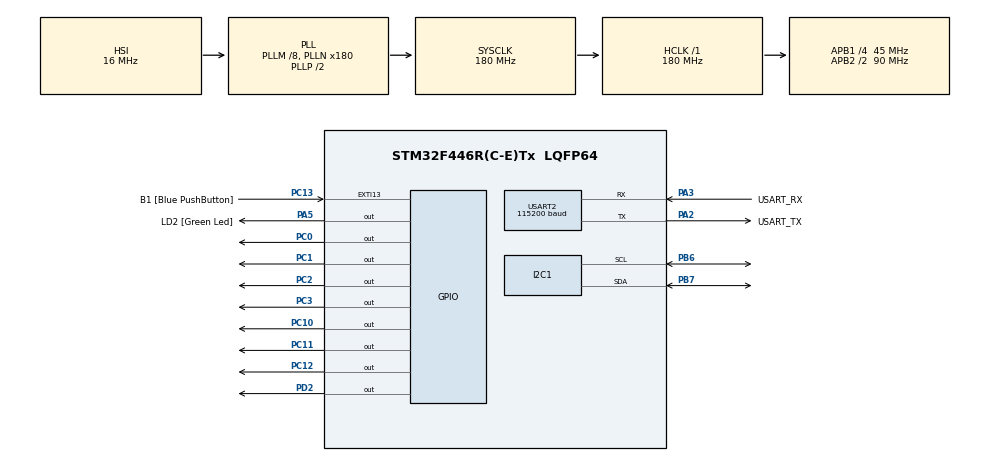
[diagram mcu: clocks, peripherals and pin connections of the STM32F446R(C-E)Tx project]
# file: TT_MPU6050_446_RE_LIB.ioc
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I2C1.I2C_Mode=I2C_Fast
Mcu.Family=STM32F4
Mcu.Name=STM32F446R(C-E)Tx
Mcu.Package=LQFP64
NVIC.EXTI15_10_IRQn=true\:0\:0\:false\:false\:true\:true\:true\:true
NVIC.PriorityGroup=NVIC_PRIORITYGROUP_0
PA13.GPIO_Label=TMS
PA13.Mode=Serial_Wire
PA13.Signal=SYS_JTMS-SWDIO
PA14.GPIO_Label=TCK
PA14.Mode=Serial_Wire
PA14.Signal=SYS_JTCK-SWCLK
PA2.GPIO_Label=USART_TX
PA2.Mode=Asynchronous
PA2.Signal=USART2_TX
PA3.GPIO_Label=USART_RX
PA3.Mode=Asynchronous
PA3.Signal=USART2_RX
PA5.GPIO_Label=LD2 [Green Led]
PA5.Signal=GPIO_Output
PB3.GPIO_Label=SWO
PB3.Signal=SYS_JTDO-SWO
PB6.Mode=I2C
PB6.Signal=I2C1_SCL
PB7.Mode=I2C
PB7.Signal=I2C1_SDA
PC0.Signal=GPIO_Output
PC1.Signal=GPIO_Output
PC10.Signal=GPIO_Output
PC11.Signal=GPIO_Output
PC12.Signal=GPIO_Output
PC13.GPIO_Label=B1 [Blue PushButton]
PC13.GPIO_ModeDefaultEXTI=GPIO_MODE_IT_FALLING
PC13.Signal=GPXTI13
PC14-OSC32_IN.Mode=LSE-External-Oscillator
PC14-OSC32_IN.Signal=RCC_OSC32_IN
PC15-OSC32_OUT.Mode=LSE-External-Oscillator
PC15-OSC32_OUT.Signal=RCC_OSC32_OUT
PC2.Signal=GPIO_Output
PC3.Signal=GPIO_Output
PD2.Signal=GPIO_Output
PH0-OSC_IN.Mode=HSE-External-Oscillator
PH0-OSC_IN.Signal=RCC_OSC_IN
PH1-OSC_OUT.Mode=HSE-External-Oscillator
PH1-OSC_OUT.Signal=RCC_OSC_OUT
ProjectManager.HeapSize=0x200
ProjectManager.StackSize=0x400
ProjectManager.TargetToolchain=STM32CubeIDE
RCC.48MHZClocksFreq_Value=84000000
RCC.AHBFreq_Value=180000000
RCC.APB1CLKDivider=RCC_HCLK_DIV4
RCC.APB1Freq_Value=45000000
RCC.APB1TimFreq_Value=90000000
RCC.APB2CLKDivider=RCC_HCLK_DIV2
RCC.APB2Freq_Value=90000000
RCC.APB2TimFreq_Value=180000000
RCC.CortexFreq_Value=180000000
RCC.FLatency-AdvancedSettings=FLASH_LATENCY_5
RCC.HCLKFreq_Value=180000000
RCC.HSE_VALUE=8000000
RCC.HSI_VALUE=16000000
RCC.PLLM=8
RCC.PLLN=180
RCC.SYSCLKFreq_VALUE=180000000
RCC.SYSCLKSource=RCC_SYSCLKSOURCE_PLLCLK
RCC.USBFreq_Value=180000000
RCC.VCOOutputFreq_Value=360000000
STMicroelectronics.X-CUBE-ALGOBUILD.1.3.0.LibraryCcDSPOoLibraryJjDSPOoLibrary=true
USART2.BaudRate=115200
USART2.VirtualMode=VM_ASYNC
VP_STMicroelectronics.X-CUBE-ALGOBUILD_VS_DSPOoLibraryJjLibrary_1.3.0_1.3.0.Mode=DSPOoLibraryJjLibrary
board=NUCLEO-F446RE

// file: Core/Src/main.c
/* USER CODE BEGIN Header */
/**
 ******************************************************************************
 * @file           : main.c
 * @brief          : Main program body
 ******************************************************************************
 * @attention
 *
 * Copyright (c) 2023 STMicroelectronics.
 * All rights reserved.
 *
 * This software is licensed under terms that can be found in the LICENSE file
 * in the root directory of this software component.
 * If no LICENSE file comes with this software, it is provided AS-IS.
 *
 ******************************************************************************
 */
/* USER CODE END Header */
#include "main.h"

/* USER CODE BEGIN Includes */
#include "TT_MPU6050.h"
/* USER CODE END Includes */

I2C_HandleTypeDef hi2c1;

UART_HandleTypeDef huart2;

/* USER CODE BEGIN PV */
float pitch, roll, yaw;
/* USER CODE END PV */

void SystemClock_Config(void);
static void MX_GPIO_Init(void);
static void MX_USART2_UART_Init(void);
static void MX_I2C1_Init(void);

int main(void) {

	/* MCU Configuration--------------------------------------------------------*/

	/* Reset of all peripherals, Initializes the Flash interface and the Systick. */
	HAL_Init();

	/* Configure the system clock */
	SystemClock_Config();

	/* Initialize all configured peripherals */
	MX_GPIO_Init();
	MX_USART2_UART_Init();
	MX_I2C1_Init();
	/* USER CODE BEGIN 2 */
	TT_Init_MPU6050();
	TT_Get_Gyro_Cal_Values();
	/* USER CODE END 2 */

	/* Infinite loop */
	while (1) {

		/* USER CODE BEGIN 3 */
		pitch = TT_Get_Pitch_Angle();
		roll = TT_Get_Roll_Angle();
		yaw = TT_Get_Yaw_Angle();

		/*
		 HAL_UART_Transmit(&huart2,(uint8_t*) "{",1,HAL_MAX_DELAY);
		 HAL_UART_Transmit(&huart2,(uint8_t*) "\"Roll\"",6,HAL_MAX_DELAY);
		 HAL_UART_Transmit(&huart2,(uint8_t*) ":",1,HAL_MAX_DELAY);
		 TT_UART_Data_Transmitter(roll);
		 HAL_UART_Transmit(&huart2,(uint8_t*) ",",1,HAL_MAX_DELAY);
		 HAL_UART_Transmit(&huart2, (uint8_t*)"\"Yaw\"",5,HAL_MAX_DELAY);
		 HAL_UART_Transmit(&huart2,(uint8_t*) ":",1,HAL_MAX_DELAY);
		 TT_UART_Data_Transmitter(yaw);
		 HAL_UART_Transmit(&huart2,(uint8_t*) "}",1,HAL_MAX_DELAY);
		 HAL_UART_Transmit(&huart2, (uint8_t*)"\n",1,HAL_MAX_DELAY);
		 */

		// Outputs of angles are displayed with LEDs
		if (roll < 25 && roll > -25) {
			HAL_GPIO_WritePin(GPIOC, GPIO_PIN_0, RESET);
			HAL_GPIO_WritePin(GPIOC, GPIO_PIN_1, RESET);
			HAL_GPIO_WritePin(GPIOC, GPIO_PIN_2, RESET);
			HAL_GPIO_WritePin(GPIOC, GPIO_PIN_3, RESET);
		}
		if (roll > 25 && roll < 50) {
			HAL_GPIO_WritePin(GPIOC, GPIO_PIN_0, RESET);
			HAL_GPIO_WritePin(GPIOC, GPIO_PIN_1, RESET);
			HAL_GPIO_WritePin(GPIOC, GPIO_PIN_2, SET);
			HAL_GPIO_WritePin(GPIOC, GPIO_PIN_3, RESET);
		}
		if (roll > 50) {
			HAL_GPIO_WritePin(GPIOC, GPIO_PIN_0, RESET);
			HAL_GPIO_WritePin(GPIOC, GPIO_PIN_1, RESET);
			HAL_GPIO_WritePin(GPIOC, GPIO_PIN_2, SET);
			HAL_GPIO_WritePin(GPIOC, GPIO_PIN_3, SET);
		}

		if (roll < -25 && roll > -50) {
			HAL_GPIO_WritePin(GPIOC, GPIO_PIN_1, SET);
			HAL_GPIO_WritePin(GPIOC, GPIO_PIN_0, RESET);
			HAL_GPIO_WritePin(GPIOC, GPIO_PIN_2, RESET);
			HAL_GPIO_WritePin(GPIOC, GPIO_PIN_3, RESET);
		}

		if (roll < -50) {
			HAL_GPIO_WritePin(GPIOC, GPIO_PIN_1, SET);
			HAL_GPIO_WritePin(GPIOC, GPIO_PIN_0, SET);
			HAL_GPIO_WritePin(GPIOC, GPIO_PIN_2, RESET);
			HAL_GPIO_WritePin(GPIOC, GPIO_PIN_3, RESET);
		}

		if (pitch < 25 && pitch > -25) {
			HAL_GPIO_WritePin(GPIOC, GPIO_PIN_10, RESET);
			HAL_GPIO_WritePin(GPIOC, GPIO_PIN_11, RESET);
			HAL_GPIO_WritePin(GPIOC, GPIO_PIN_12, RESET);
			HAL_GPIO_WritePin(GPIOD, GPIO_PIN_2, RESET);
		}
		if (pitch > 25 && pitch < 50) {
			HAL_GPIO_WritePin(GPIOC, GPIO_PIN_10, RESET);
			HAL_GPIO_WritePin(GPIOC, GPIO_PIN_11, RESET);
			HAL_GPIO_WritePin(GPIOC, GPIO_PIN_12, SET);
			HAL_GPIO_WritePin(GPIOD, GPIO_PIN_2, RESET);
		}

		if (pitch > 50) {
			HAL_GPIO_WritePin(GPIOC, GPIO_PIN_10, RESET);
			HAL_GPIO_WritePin(GPIOC, GPIO_PIN_11, RESET);
			HAL_GPIO_WritePin(GPIOC, GPIO_PIN_12, SET);
			HAL_GPIO_WritePin(GPIOD, GPIO_PIN_2, SET);
		}

		if (pitch < -25 && pitch > -50) {
			HAL_GPIO_WritePin(GPIOC, GPIO_PIN_10, RESET);
			HAL_GPIO_WritePin(GPIOC, GPIO_PIN_11, SET);
			HAL_GPIO_WritePin(GPIOC, GPIO_PIN_12, RESET);
			HAL_GPIO_WritePin(GPIOD, GPIO_PIN_2, RESET);
		}

		if (pitch < -50) {
			HAL_GPIO_WritePin(GPIOC, GPIO_PIN_10, SET);
			HAL_GPIO_WritePin(GPIOC, GPIO_PIN_11, SET);
			HAL_GPIO_WritePin(GPIOC, GPIO_PIN_12, RESET);
			HAL_GPIO_WritePin(GPIOD, GPIO_PIN_2, RESET);
		}

	}
	/* USER CODE END 3 */
}

void SystemClock_Config(void) {
	RCC_OscInitTypeDef RCC_OscInitStruct = { 0 };
	RCC_ClkInitTypeDef RCC_ClkInitStruct = { 0 };

	/** Configure the main internal regulator output voltage
	 */
	__HAL_RCC_PWR_CLK_ENABLE();
	__HAL_PWR_VOLTAGESCALING_CONFIG(PWR_REGULATOR_VOLTAGE_SCALE1);

	/** Initializes the RCC Oscillators according to the specified parameters
	 * in the RCC_OscInitTypeDef structure.
	 */
	RCC_OscInitStruct.OscillatorType = RCC_OSCILLATORTYPE_HSI;
	RCC_OscInitStruct.HSIState = RCC_HSI_ON;
	RCC_OscInitStruct.HSICalibrationValue = RCC_HSICALIBRATION_DEFAULT;
	RCC_OscInitStruct.PLL.PLLState = RCC_PLL_ON;
	RCC_OscInitStruct.PLL.PLLSource = RCC_PLLSOURCE_HSI;
	RCC_OscInitStruct.PLL.PLLM = 8;
	RCC_OscInitStruct.PLL.PLLN = 180;
	RCC_OscInitStruct.PLL.PLLP = RCC_PLLP_DIV2;
	RCC_OscInitStruct.PLL.PLLQ = 2;
	RCC_OscInitStruct.PLL.PLLR = 2;
	if (HAL_RCC_OscConfig(&RCC_OscInitStruct) != HAL_OK) {
		Error_Handler();
	}

	/** Activate the Over-Drive mode
	 */
	if (HAL_PWREx_EnableOverDrive() != HAL_OK) {
		Error_Handler();
	}

	/** Initializes the CPU, AHB and APB buses clocks
	 */
	RCC_ClkInitStruct.ClockType = RCC_CLOCKTYPE_HCLK | RCC_CLOCKTYPE_SYSCLK
			| RCC_CLOCKTYPE_PCLK1 | RCC_CLOCKTYPE_PCLK2;
	RCC_ClkInitStruct.SYSCLKSource = RCC_SYSCLKSOURCE_PLLCLK;
	RCC_ClkInitStruct.AHBCLKDivider = RCC_SYSCLK_DIV1;
	RCC_ClkInitStruct.APB1CLKDivider = RCC_HCLK_DIV4;
	RCC_ClkInitStruct.APB2CLKDivider = RCC_HCLK_DIV2;

	if (HAL_RCC_ClockConfig(&RCC_ClkInitStruct, FLASH_LATENCY_5) != HAL_OK) {
		Error_Handler();
	}
}

static void MX_I2C1_Init(void) {

	hi2c1.Instance = I2C1;
	hi2c1.Init.ClockSpeed = 400000;
	hi2c1.Init.DutyCycle = I2C_DUTYCYCLE_2;
	hi2c1.Init.OwnAddress1 = 0;
	hi2c1.Init.AddressingMode = I2C_ADDRESSINGMODE_7BIT;
	hi2c1.Init.DualAddressMode = I2C_DUALADDRESS_DISABLE;
	hi2c1.Init.OwnAddress2 = 0;
	hi2c1.Init.GeneralCallMode = I2C_GENERALCALL_DISABLE;
	hi2c1.Init.NoStretchMode = I2C_NOSTRETCH_DISABLE;
	if (HAL_I2C_Init(&hi2c1) != HAL_OK) {
		Error_Handler();
	}

}

static void MX_USART2_UART_Init(void) {

	huart2.Instance = USART2;
	huart2.Init.BaudRate = 115200;
	huart2.Init.WordLength = UART_WORDLENGTH_8B;
	huart2.Init.StopBits = UART_STOPBITS_1;
	huart2.Init.Parity = UART_PARITY_NONE;
	huart2.Init.Mode = UART_MODE_TX_RX;
	huart2.Init.HwFlowCtl = UART_HWCONTROL_NONE;
	huart2.Init.OverSampling = UART_OVERSAMPLING_16;
	if (HAL_UART_Init(&huart2) != HAL_OK) {
		Error_Handler();
	}

}

static void MX_GPIO_Init(void) {
	GPIO_InitTypeDef GPIO_InitStruct = { 0 };

	/* GPIO Ports Clock Enable */
	__HAL_RCC_GPIOC_CLK_ENABLE();
	__HAL_RCC_GPIOH_CLK_ENABLE();
	__HAL_RCC_GPIOA_CLK_ENABLE();
	__HAL_RCC_GPIOD_CLK_ENABLE();
	__HAL_RCC_GPIOB_CLK_ENABLE();

	/*Configure GPIO pin Output Level */
	HAL_GPIO_WritePin(GPIOC,
			GPIO_PIN_0 | GPIO_PIN_1 | GPIO_PIN_2 | GPIO_PIN_3 | GPIO_PIN_10
					| GPIO_PIN_11 | GPIO_PIN_12, GPIO_PIN_RESET);

	/*Configure GPIO pin Output Level */
	HAL_GPIO_WritePin(LD2_GPIO_Port, LD2_Pin, GPIO_PIN_RESET);

	/*Configure GPIO pin Output Level */
	HAL_GPIO_WritePin(GPIOD, GPIO_PIN_2, GPIO_PIN_RESET);

	/*Configure GPIO pin : B1_Pin */
	GPIO_InitStruct.Pin = B1_Pin;
	GPIO_InitStruct.Mode = GPIO_MODE_IT_FALLING;
	GPIO_InitStruct.Pull = GPIO_NOPULL;
	HAL_GPIO_Init(B1_GPIO_Port, &GPIO_InitStruct);

	/*Configure GPIO pins : PC0 PC1 PC2 PC3
	 PC10 PC11 PC12 */
	GPIO_InitStruct.Pin = GPIO_PIN_0 | GPIO_PIN_1 | GPIO_PIN_2 | GPIO_PIN_3
			| GPIO_PIN_10 | GPIO_PIN_11 | GPIO_PIN_12;
	GPIO_InitStruct.Mode = GPIO_MODE_OUTPUT_PP;
	GPIO_InitStruct.Pull = GPIO_NOPULL;
	GPIO_InitStruct.Speed = GPIO_SPEED_FREQ_LOW;
	HAL_GPIO_Init(GPIOC, &GPIO_InitStruct);

	/*Configure GPIO pin : LD2_Pin */
	GPIO_InitStruct.Pin = LD2_Pin;
	GPIO_InitStruct.Mode = GPIO_MODE_OUTPUT_PP;
	GPIO_InitStruct.Pull = GPIO_NOPULL;
	GPIO_InitStruct.Speed = GPIO_SPEED_FREQ_LOW;
	HAL_GPIO_Init(LD2_GPIO_Port, &GPIO_InitStruct);

	/*Configure GPIO pin : PD2 */
	GPIO_InitStruct.Pin = GPIO_PIN_2;
	GPIO_InitStruct.Mode = GPIO_MODE_OUTPUT_PP;
	GPIO_InitStruct.Pull = GPIO_NOPULL;
	GPIO_InitStruct.Speed = GPIO_SPEED_FREQ_LOW;
	HAL_GPIO_Init(GPIOD, &GPIO_InitStruct);

	/* EXTI interrupt init*/
	HAL_NVIC_SetPriority(EXTI15_10_IRQn, 0, 0);
	HAL_NVIC_EnableIRQ(EXTI15_10_IRQn);

}

void Error_Handler(void) {
	__disable_irq();
	while (1) {
	}
}
